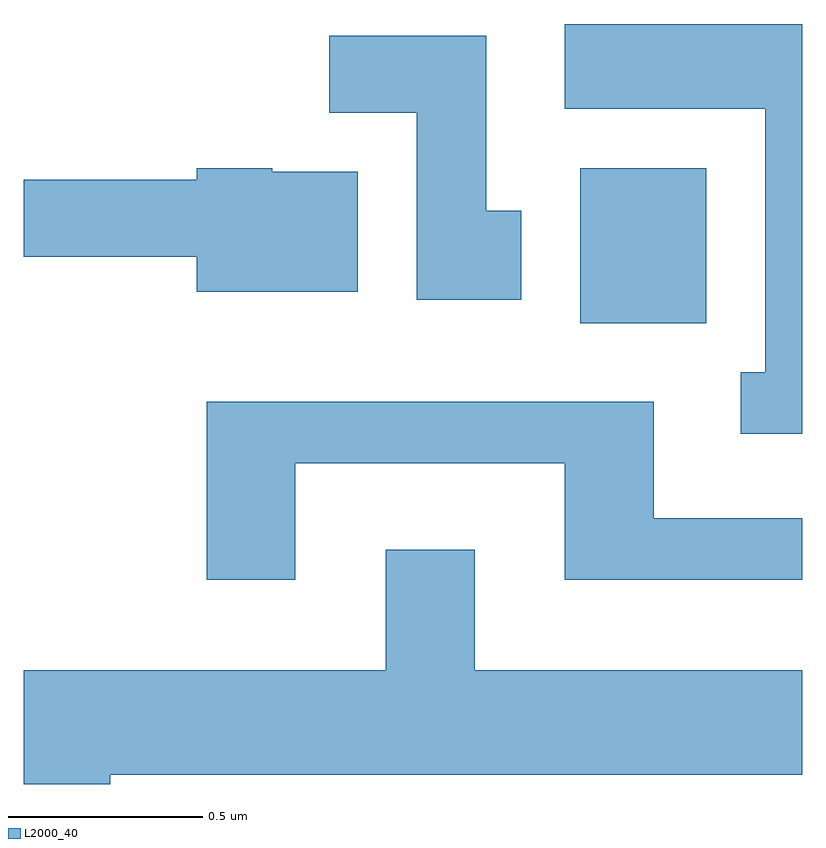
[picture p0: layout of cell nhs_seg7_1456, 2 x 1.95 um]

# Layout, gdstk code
import gdstk
lib = gdstk.Library(unit=1e-6, precision=1e-09)
def R(c, l, rs):  # rectangles x0, y0, x1, y1
    for r in rs: c.add(gdstk.rectangle(r[:2], r[2:], *l))
def P(c, l, *ps):  # polygons
    for p in ps: c.add(gdstk.Polygon(p, *l))
L2000_40 = (2000, 40)

nhs_seg7_1456 = lib.new_cell('nhs_seg7_1456')
R(nhs_seg7_1456, L2000_40, [(197.041,1755.436,197.364,1755.834)])
P(nhs_seg7_1456, L2000_40, [(197.611,1756.204),(197.001,1756.204),(197.001,1755.986),(197.516,1755.986),(197.516,1755.309),(197.453,1755.309),(197.453,1755.151),(197.611,1755.151)],
  [(196.889,1755.724),(196.799,1755.724),(196.799,1756.174),(196.396,1756.174),(196.396,1755.976),(196.621,1755.976),(196.621,1755.496),(196.889,1755.496)],
  [(196.469,1755.824),(196.25,1755.824),(196.25,1755.834),(196.056,1755.834),(196.056,1755.804),(195.611,1755.804),(195.611,1755.606),(196.056,1755.606),(196.056,1755.516),(196.469,1755.516)],
  [(196.309,1755.076),(197.001,1755.076),(197.001,1754.776),(197.611,1754.776),(197.611,1754.934),(197.229,1754.934),(197.229,1755.234),(196.081,1755.234),(196.081,1754.776),(196.309,1754.776)],
  [(195.834,1754.276),(197.611,1754.276),(197.611,1754.544),(196.769,1754.544),(196.769,1754.854),(196.541,1754.854),(196.541,1754.544),(195.611,1754.544),(195.611,1754.252),(195.834,1754.252)])

lib.write_gds('nhs_seg7_1456.gds')
